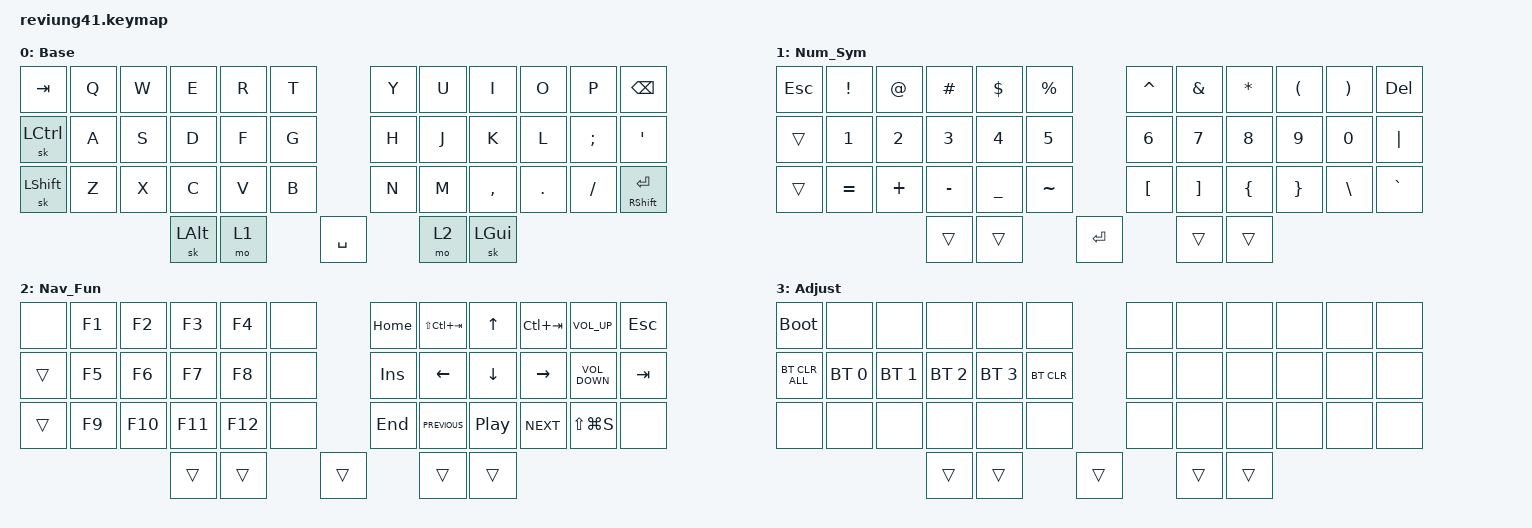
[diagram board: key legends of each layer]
/*
 * Copyright (c) 2020 The ZMK Contributors
 *
 * SPDX-License-Identifier: MIT
 */

#include <behaviors.dtsi>
#include <dt-bindings/zmk/bt.h>
#include <dt-bindings/zmk/keys.h>

/ {
    keymap {
        compatible = "zmk,keymap";

        base_layer {
            // -------------------------------------------------------------------------------------
            // |  TAB |  Q  |  W  |  E  |  R  |  T  |   |  Y  |  U   |  I  |  O  |  P  |   BSPC    |
            // | CTRL |  A  |  S  |  D  |  F  |  G  |   |  H  |  J   |  K  |  L  |  ;  |    '      |
            // | SHFT |  Z  |  X  |  C  |  V  |  B  |   |  N  |  M   |  ,  |  .  |  /  | SHFT(RET) |
            //                         | ALT | LWR | SPC | RSE  | ALT |

            bindings = <
&kp TAB           &kp Q  &kp W  &kp E         &kp R  &kp T             &kp Y  &kp U  &kp I         &kp O    &kp P     &kp BSPC
&sk LEFT_CONTROL  &kp A  &kp S  &kp D         &kp F  &kp G             &kp H  &kp J  &kp K         &kp L    &kp SEMI  &kp SQT
&sk LEFT_SHIFT    &kp Z  &kp X  &kp C         &kp V  &kp B             &kp N  &kp M  &kp COMMA     &kp DOT  &kp FSLH  &mt RSHFT RET
                                &sk LEFT_ALT  &mo 1         &kp SPACE         &mo 2  &sk LEFT_GUI
            >;

            label = "Base";
        };

        num_sym_layer {
            // ------------------------------------------------------------------------------------
            // |    |  !  |  @  |  #  |  $  |  %  |   |  ^  |  &  |  *  |  (  |  )  |      DEL    |
            // |    |  _  |  +  |  {  |  }  | "|" |   | LFT | DWN |  UP | RGT |  `  |       ~     |
            // |    | ESC | GUI | ALT | CAPS|  "  |   | HOME| END | PGUP| PGDN| PRSC| SHFT(SPACE) |
            //                       |     |     | RET | ADJ |     |

            bindings = <
&kp ESC  &kp EXCL   &kp AT    &kp HASH   &kp DLLR   &kp PRCNT           &kp CARET  &kp AMPS  &kp ASTRK       &kp LPAR         &kp RPAR  &kp DEL
&trans   &kp N1     &kp N2    &kp N3     &kp N4     &kp N5              &kp N6     &kp N7    &kp N8          &kp N9           &kp N0    &kp PIPE
&trans   &kp EQUAL  &kp PLUS  &kp MINUS  &kp UNDER  &kp TILDE           &kp LBKT   &kp RBKT  &kp LEFT_BRACE  &kp RIGHT_BRACE  &kp BSLH  &kp GRAVE
                              &trans     &trans                &kp RET             &trans    &trans
            >;

            label = "Num_Sym";
        };

        nav_fun_layer {
            bindings = <
&none   &kp F1  &kp F2   &kp F3   &kp F4   &none          &kp HOME  &kp LS(LC(TAB))  &kp UP_ARROW      &kp LC(TAB)  &kp C_VOLUME_UP    &kp ESC
&trans  &kp F5  &kp F6   &kp F7   &kp F8   &none          &kp INS   &kp LEFT         &kp DOWN          &kp RIGHT    &kp C_VOLUME_DOWN  &kp TAB
&trans  &kp F9  &kp F10  &kp F11  &kp F12  &none          &kp END   &kp C_PREVIOUS   &kp C_PLAY_PAUSE  &kp C_NEXT   &kp LS(LG(S))      &none
                         &trans   &trans          &trans            &trans           &trans
            >;

            label = "Nav_Fun";
        };

        adjust_layer {
            bindings = <
&bootloader     &none         &none         &none         &none         &none               &none  &none   &none   &none  &none  &none
&bt BT_CLR_ALL  &bt BT_SEL 0  &bt BT_SEL 1  &bt BT_SEL 2  &bt BT_SEL 3  &bt BT_CLR          &none  &none   &none   &none  &none  &none
&none           &none         &none         &none         &none         &none               &none  &none   &none   &none  &none  &none
                                            &trans        &trans                    &trans         &trans  &trans
            >;

            label = "Adjust";
        };
    };

    conditional_layers {
        compatible = "zmk,conditional-layers";

        adjust_layer {
            if-layers = <1 2>;
            then-layer = <3>;
        };
    };
};
